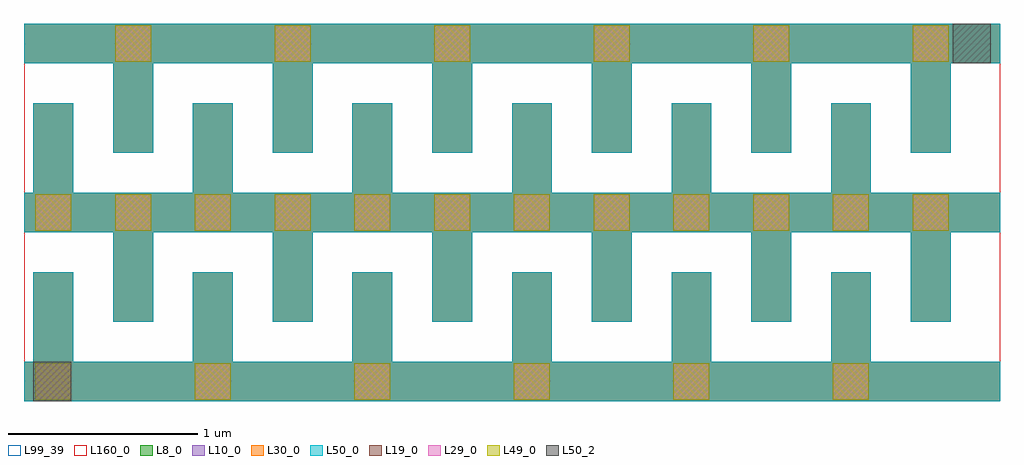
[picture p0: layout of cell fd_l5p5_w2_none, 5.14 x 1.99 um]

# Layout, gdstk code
import gdstk
lib = gdstk.Library(unit=1e-6, precision=1e-09)
def R(c, l, rs):  # rectangles x0, y0, x1, y1
    for r in rs: c.add(gdstk.rectangle(r[:2], r[2:], *l))
def A(c, l, x, y, w, h, nx, ny, dx, dy):  # array of equal rectangles
    R(c, l, [(x+i*dx, y+j*dy, x+i*dx+w, y+j*dy+h) for i in range(nx) for j in range(ny)])
L8_0 = (8, 0)
L10_0 = (10, 0)
L19_0 = (19, 0)
L29_0 = (29, 0)
L30_0 = (30, 0)
L49_0 = (49, 0)
L50_0 = (50, 0)
L50_2 = (50, 2)
L99_39 = (99, 39)
L160_0 = (160, 0)

fd_l5p5_w2_none = lib.new_cell('fd_l5p5_w2_none')
A(fd_l5p5_w2_none, L8_0, -0.05, -0.105, 5.14, 0.21, 1, 3, 0, 0.89)
A(fd_l5p5_w2_none, L8_0, 0, 0, 0.21, 0.575, 6, 2, 0.84, 0.89)
A(fd_l5p5_w2_none, L8_0, 0.42, 0.315, 0.21, 0.575, 6, 2, 0.84, 0.89)
A(fd_l5p5_w2_none, L10_0, -0.05, -0.105, 5.14, 0.21, 1, 3, 0, 0.89)
A(fd_l5p5_w2_none, L10_0, 0, 0, 0.21, 0.575, 6, 2, 0.84, 0.89)
A(fd_l5p5_w2_none, L10_0, 0.42, 0.315, 0.21, 0.575, 6, 2, 0.84, 0.89)
A(fd_l5p5_w2_none, L19_0, 0.01, -0.095, 0.19, 0.19, 6, 1, 0.84, 0)
A(fd_l5p5_w2_none, L19_0, 0.01, 0.795, 0.19, 0.19, 12, 1, 0.42, 0)
A(fd_l5p5_w2_none, L19_0, 0.43, 1.685, 0.19, 0.19, 6, 1, 0.84, 0)
A(fd_l5p5_w2_none, L29_0, 0.01, -0.095, 0.19, 0.19, 6, 1, 0.84, 0)
A(fd_l5p5_w2_none, L29_0, 0.01, 0.795, 0.19, 0.19, 12, 1, 0.42, 0)
A(fd_l5p5_w2_none, L29_0, 0.43, 1.685, 0.19, 0.19, 6, 1, 0.84, 0)
A(fd_l5p5_w2_none, L30_0, -0.05, -0.105, 5.14, 0.21, 1, 3, 0, 0.89)
A(fd_l5p5_w2_none, L30_0, 0, 0, 0.21, 0.575, 6, 2, 0.84, 0.89)
A(fd_l5p5_w2_none, L30_0, 0.42, 0.315, 0.21, 0.575, 6, 2, 0.84, 0.89)
A(fd_l5p5_w2_none, L49_0, 0.01, -0.095, 0.19, 0.19, 6, 1, 0.84, 0)
A(fd_l5p5_w2_none, L49_0, 0.01, 0.795, 0.19, 0.19, 12, 1, 0.42, 0)
A(fd_l5p5_w2_none, L49_0, 0.43, 1.685, 0.19, 0.19, 6, 1, 0.84, 0)
A(fd_l5p5_w2_none, L50_0, -0.05, -0.105, 5.14, 0.21, 1, 3, 0, 0.89)
A(fd_l5p5_w2_none, L50_0, 0, 0, 0.21, 0.575, 6, 2, 0.84, 0.89)
A(fd_l5p5_w2_none, L50_0, 0.42, 0.315, 0.21, 0.575, 6, 2, 0.84, 0.89)
R(fd_l5p5_w2_none, L50_2, [(0,-0.105,0.2,0.105), (4.84,1.675,5.04,1.885)])
R(fd_l5p5_w2_none, L99_39, [(-0.05,0,5.09,1.78)])
R(fd_l5p5_w2_none, L160_0, [(-0.05,0,5.09,1.78)])
fd_l5p5_w2_none.add(gdstk.Label('cap_cmomi C=9.779fF', (-0.05,-0.5), layer=63, texttype=0))

lib.write_gds('fd_l5p5_w2_none.gds')
